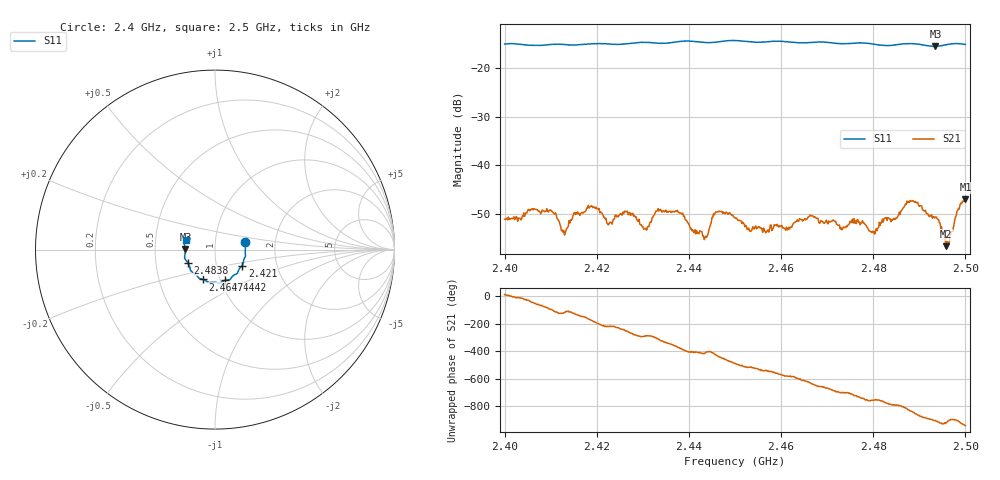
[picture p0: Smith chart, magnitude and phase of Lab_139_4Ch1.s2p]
# Hz S RI R 50
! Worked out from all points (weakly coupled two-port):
!   601 points, 2.4 GHz to 2.5 GHz, reference 50 ohm
!   highest |S21| = -46.88 dB at 2.5 GHz (marker M1); lowest = -56.5 dB at 2.4958 GHz (marker M2)
!   lowest |S11| = -15.7 dB at 2.4935 GHz (marker M3), VSWR 1.40, Z = 35.8 + j0.187 ohm
!   |S11| at or under -10 dB: start of sweep to end of sweep
!   S12 and S22 are empty: the file has one direction only
!   S11 on the Smith chart (normalised r, x): 2.4 GHz: 1.40, +0.12; 2.421 GHz: 1.33, -0.24; 2.4442 GHz: 1.05, -0.37; 2.4647 GHz: 0.83, -0.28; 2.4838 GHz: 0.73, -0.11; 2.5 GHz: 0.71, +0.08
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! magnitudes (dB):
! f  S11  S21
! 2.4 GHz  -15.2  -51.0
! 2.4097 GHz  -15.3  -49.2
! 2.4128 GHz  -15.3  -53.3
! 2.4167 GHz  -15.3  -49.7
! 2.421 GHz  -15.1  -49.7
! 2.4228 GHz  -15.2  -51.6
! 2.4267 GHz  -15.1  -49.4
! 2.4307 GHz  -14.8  -52.9
! 2.4333 GHz  -15.0  -48.8
! 2.4442 GHz  -14.9  -54.0
! 2.4462 GHz  -14.8  -49.5
! 2.45 GHz  -14.5  -50.7
! 2.4568 GHz  -14.7  -53.6
! 2.4647 GHz  -14.9  -51.4
! 2.4667 GHz  -14.8  -50.3
! 2.4798 GHz  -15.2  -53.4
! 2.4833 GHz  -15.5  -50.7
! 2.4838 GHz  -15.5  -51.5
! 2.4882 GHz  -15.1  -47.3
! 2.4935 GHz  -15.7  -50.5
! 2.4958 GHz  -15.3  -56.5
! 2.5 GHz  -15.3  -46.9
